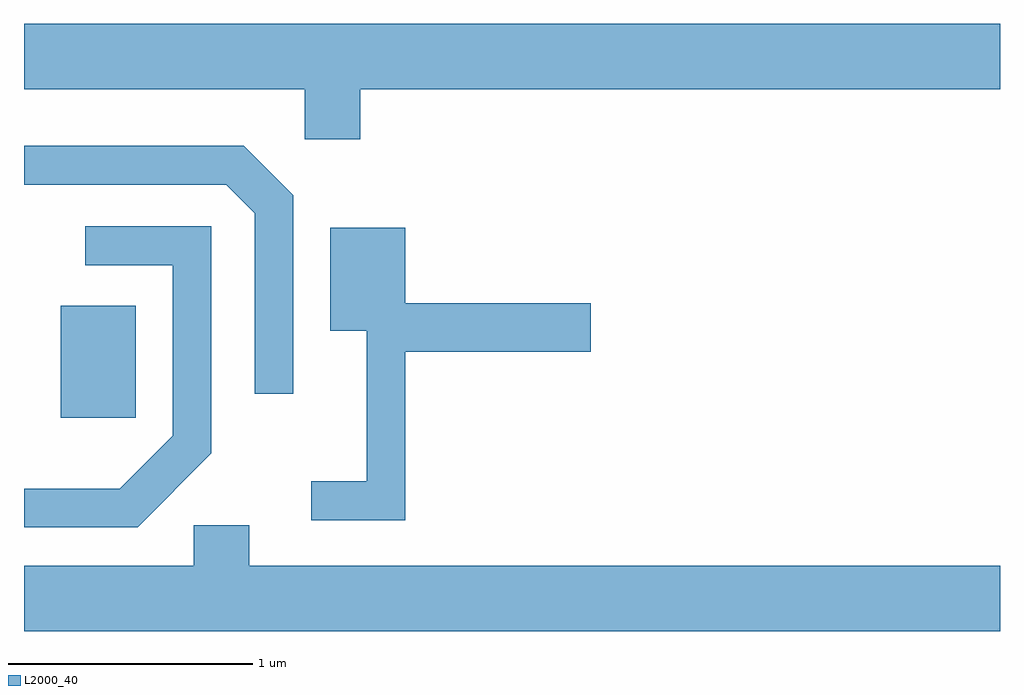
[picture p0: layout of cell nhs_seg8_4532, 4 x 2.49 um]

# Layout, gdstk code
import gdstk
lib = gdstk.Library(unit=1e-6, precision=1e-09)
def R(c, l, rs):  # rectangles x0, y0, x1, y1
    for r in rs: c.add(gdstk.rectangle(r[:2], r[2:], *l))
def P(c, l, *ps):  # polygons
    for p in ps: c.add(gdstk.Polygon(p, *l))
L2000_40 = (2000, 40)

nhs_seg8_4532 = lib.new_cell('nhs_seg8_4532')
R(nhs_seg8_4532, L2000_40, [(321.761,1828.411,322.069,1828.869)])
P(nhs_seg8_4532, L2000_40, [(322.989,1829.756),(325.611,1829.756),(325.611,1830.024),(321.611,1830.024),(321.611,1829.756),(322.761,1829.756),(322.761,1829.551),(322.989,1829.551)],
  [(322.714,1829.322),(322.512,1829.524),(321.611,1829.524),(321.611,1829.366),(322.439,1829.366),(322.556,1829.249),(322.556,1828.508),(322.714,1828.508)],
  [(322.379,1828.264),(322.379,1829.194),(321.863,1829.194),(321.863,1829.036),(322.221,1829.036),(322.221,1828.337),(322.004,1828.119),(321.611,1828.119),(321.611,1827.961),(322.077,1827.961)],
  [(323.174,1828.681),(323.934,1828.681),(323.934,1828.879),(323.174,1828.879),(323.174,1829.189),(322.866,1829.189),(322.866,1828.766),(323.016,1828.766),(323.016,1828.149),(322.788,1828.149),(322.788,1827.991),(323.174,1827.991)],
  [(325.611,1827.804),(322.534,1827.804),(322.534,1827.969),(322.306,1827.969),(322.306,1827.804),(321.611,1827.804),(321.611,1827.536),(325.611,1827.536)])

lib.write_gds('nhs_seg8_4532.gds')
